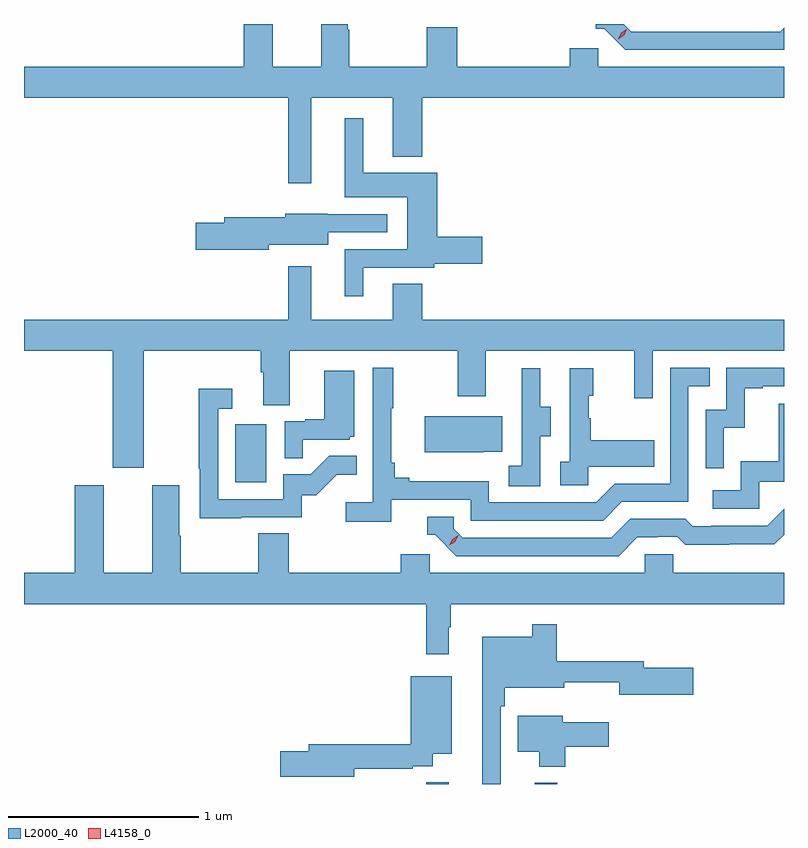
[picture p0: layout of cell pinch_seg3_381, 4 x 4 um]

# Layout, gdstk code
import gdstk
lib = gdstk.Library(unit=1e-6, precision=1e-09)
def R(c, l, rs):  # rectangles x0, y0, x1, y1
    for r in rs: c.add(gdstk.rectangle(r[:2], r[2:], *l))
def P(c, l, *ps):  # polygons
    for p in ps: c.add(gdstk.Polygon(p, *l))
L2000_40 = (2000, 40)
L4158_0 = (4158, 0)

pinch_seg3_381 = lib.new_cell('pinch_seg3_381')
R(pinch_seg3_381, L2000_40, [(998.383,686.649,998.501,686.657), (998.954,686.649,999.071,686.656), (997.376,688.236,997.54,688.543)])
P(pinch_seg3_381, L2000_40, [(1000.265,690.629),(1000.245,690.609),(999.462,690.609),(999.422,690.649),(999.275,690.649),(999.275,690.624),(999.318,690.624),(999.429,690.513),(1000.265,690.513)],
  [(997.777,690.26),(998.207,690.26),(998.207,689.951),(998.36,689.951),(998.36,690.26),(1000.265,690.26),(1000.265,690.424),(999.288,690.424),(999.288,690.522),(999.137,690.522),(999.137,690.424),(998.546,690.424),(998.546,690.632),(998.386,690.632),(998.386,690.424),(997.977,690.424),(997.977,690.62),(997.969,690.62),(997.969,690.649),(997.829,690.649),(997.829,690.424),(997.573,690.424),(997.573,690.649),(997.421,690.649),(997.421,690.424),(996.265,690.424),(996.265,690.26),(997.656,690.26),(997.656,689.811),(997.777,689.811)],
  [(998.05,689.367),(998.424,689.367),(998.424,689.386),(998.677,689.386),(998.677,689.528),(998.441,689.528),(998.441,689.866),(998.05,689.866),(998.05,690.154),(997.952,690.154),(997.952,689.738),(998.282,689.738),(998.282,689.463),(997.952,689.463),(997.952,689.217),(998.05,689.217)],
  [(997.554,689.486),(997.867,689.486),(997.867,689.553),(998.176,689.553),(998.176,689.649),(997.863,689.649),(997.863,689.65),(997.64,689.65),(997.64,689.633),(997.319,689.633),(997.319,689.603),(997.17,689.603),(997.17,689.461),(997.554,689.461)],
  [(996.895,688.928),(997.511,688.928),(997.511,688.816),(997.523,688.816),(997.523,688.642),(997.663,688.642),(997.663,688.928),(998.548,688.928),(998.548,688.689),(998.695,688.689),(998.695,688.928),(999.476,688.928),(999.476,688.68),(999.573,688.68),(999.573,688.928),(1000.265,688.928),(1000.265,689.092),(998.36,689.092),(998.36,689.282),(998.207,689.282),(998.207,689.092),(997.777,689.092),(997.777,689.374),(997.656,689.374),(997.656,689.092),(996.265,689.092),(996.265,688.928),(996.731,688.928),(996.731,688.314),(996.895,688.314)],
  [(998.198,688.146),(998.616,688.146),(998.616,688.035),(999.313,688.035),(999.412,688.134),(999.762,688.134),(999.762,688.743),(999.875,688.743),(999.875,688.839),(999.666,688.839),(999.666,688.23),(999.375,688.23),(999.276,688.131),(998.712,688.131),(998.712,688.243),(998.293,688.243),(998.293,688.262),(998.216,688.262),(998.216,688.339),(998.197,688.339),(998.197,688.627),(998.209,688.627),(998.209,688.84),(998.1,688.84),(998.1,688.132),(997.959,688.132),(997.959,688.03),(998.198,688.03)],
  [(999.948,688.523),(1000.058,688.523),(1000.058,688.731),(1000.153,688.731),(1000.153,688.743),(1000.265,688.743),(1000.265,688.839),(999.96,688.839),(999.96,688.62),(999.852,688.62),(999.852,688.311),(999.948,688.311)],
  [(999.234,688.319),(999.581,688.319),(999.581,688.459),(999.247,688.459),(999.247,688.574),(999.237,688.574),(999.237,688.692),(999.262,688.692),(999.262,688.837),(999.138,688.837),(999.138,688.346),(999.087,688.346),(999.087,688.221),(999.234,688.221)],
  [(998.982,688.48),(999.037,688.48),(999.037,688.635),(998.983,688.635),(998.983,688.837),(998.885,688.837),(998.885,688.623),(998.886,688.623),(998.886,688.323),(998.817,688.323),(998.817,688.216),(998.982,688.216)],
  [(997.733,688.461),(997.98,688.461),(997.98,688.476),(998.002,688.476),(998.002,688.825),(997.844,688.825),(997.844,688.57),(997.745,688.57),(997.745,688.557),(997.638,688.557),(997.638,688.363),(997.733,688.363)],
  [(997.409,688.053),(997.728,688.053),(997.728,688.17),(997.804,688.17),(997.911,688.277),(998.015,688.277),(998.015,688.376),(997.871,688.376),(997.773,688.278),(997.629,688.278),(997.629,688.149),(997.287,688.149),(997.287,688.623),(997.36,688.623),(997.36,688.729),(997.186,688.729),(997.186,688.309),(997.191,688.309),(997.191,688.048),(997.409,688.048)],
  [(1000.134,688.239),(1000.265,688.239),(1000.265,688.651),(1000.237,688.651),(1000.237,688.348),(1000.038,688.348),(1000.038,688.194),(999.891,688.194),(999.891,688.098),(1000.134,688.098)],
  [(998.681,688.397),(998.783,688.397),(998.783,688.585),(998.375,688.585),(998.375,688.394),(998.681,688.394)],
  [(998.5,687.473),(998.512,687.473),(998.512,687.596),(1000.265,687.596),(1000.265,687.76),(999.681,687.76),(999.681,687.858),(999.531,687.858),(999.531,687.76),(998.4,687.76),(998.4,687.858),(998.249,687.858),(998.249,687.76),(997.658,687.76),(997.658,687.968),(997.498,687.968),(997.498,687.76),(997.089,687.76),(997.089,687.956),(997.081,687.956),(997.081,688.222),(996.941,688.222),(996.941,687.76),(996.685,687.76),(996.685,688.222),(996.533,688.222),(996.533,687.76),(996.265,687.76),(996.265,687.596),(998.383,687.596),(998.383,687.333),(998.5,687.333)],
  [(999.493,687.948),(999.6,687.948),(999.6,687.951),(999.703,687.951),(999.745,687.909),(999.978,687.909),(999.978,687.911),(1000.214,687.911),(1000.265,687.962),(1000.265,688.097),(1000.176,688.008),(999.883,688.008),(999.883,688.005),(999.784,688.005),(999.745,688.044),(999.456,688.044),(999.357,687.945),(998.574,687.945),(998.526,687.993),(998.526,688.056),(998.387,688.056),(998.387,687.96),(998.43,687.96),(998.541,687.849),(999.394,687.849)],
  [(998.775,687.059),(998.795,687.059),(998.795,687.155),(999.108,687.155),(999.108,687.185),(999.398,687.185),(999.398,687.119),(999.787,687.119),(999.787,687.261),(999.526,687.261),(999.526,687.295),(999.068,687.295),(999.068,687.49),(998.94,687.49),(998.94,687.424),(998.678,687.424),(998.678,686.649),(998.775,686.649)],
  [(998.002,686.73),(998.312,686.73),(998.312,686.742),(998.416,686.742),(998.416,686.807),(998.515,686.807),(998.515,687.217),(998.3,687.217),(998.3,686.858),(997.763,686.858),(997.763,686.822),(997.614,686.822),(997.614,686.687),(998.002,686.687)],
  [(999.113,686.845),(999.343,686.845),(999.343,686.974),(999.1,686.974),(999.1,687.007),(998.864,687.007),(998.864,686.819),(998.978,686.819),(998.978,686.741),(999.113,686.741)])
P(pinch_seg3_381, L4158_0, [(999.392,690.57),(999.392,690.57),(999.408,690.603),(999.438,690.622),(999.438,690.622),(999.438,690.622),(999.423,690.59),(999.392,690.57)],
  [(998.504,687.906),(998.504,687.906),(998.52,687.938),(998.551,687.958),(998.551,687.958),(998.551,687.957),(998.535,687.925),(998.504,687.906)])

lib.write_gds('pinch_seg3_381.gds')
